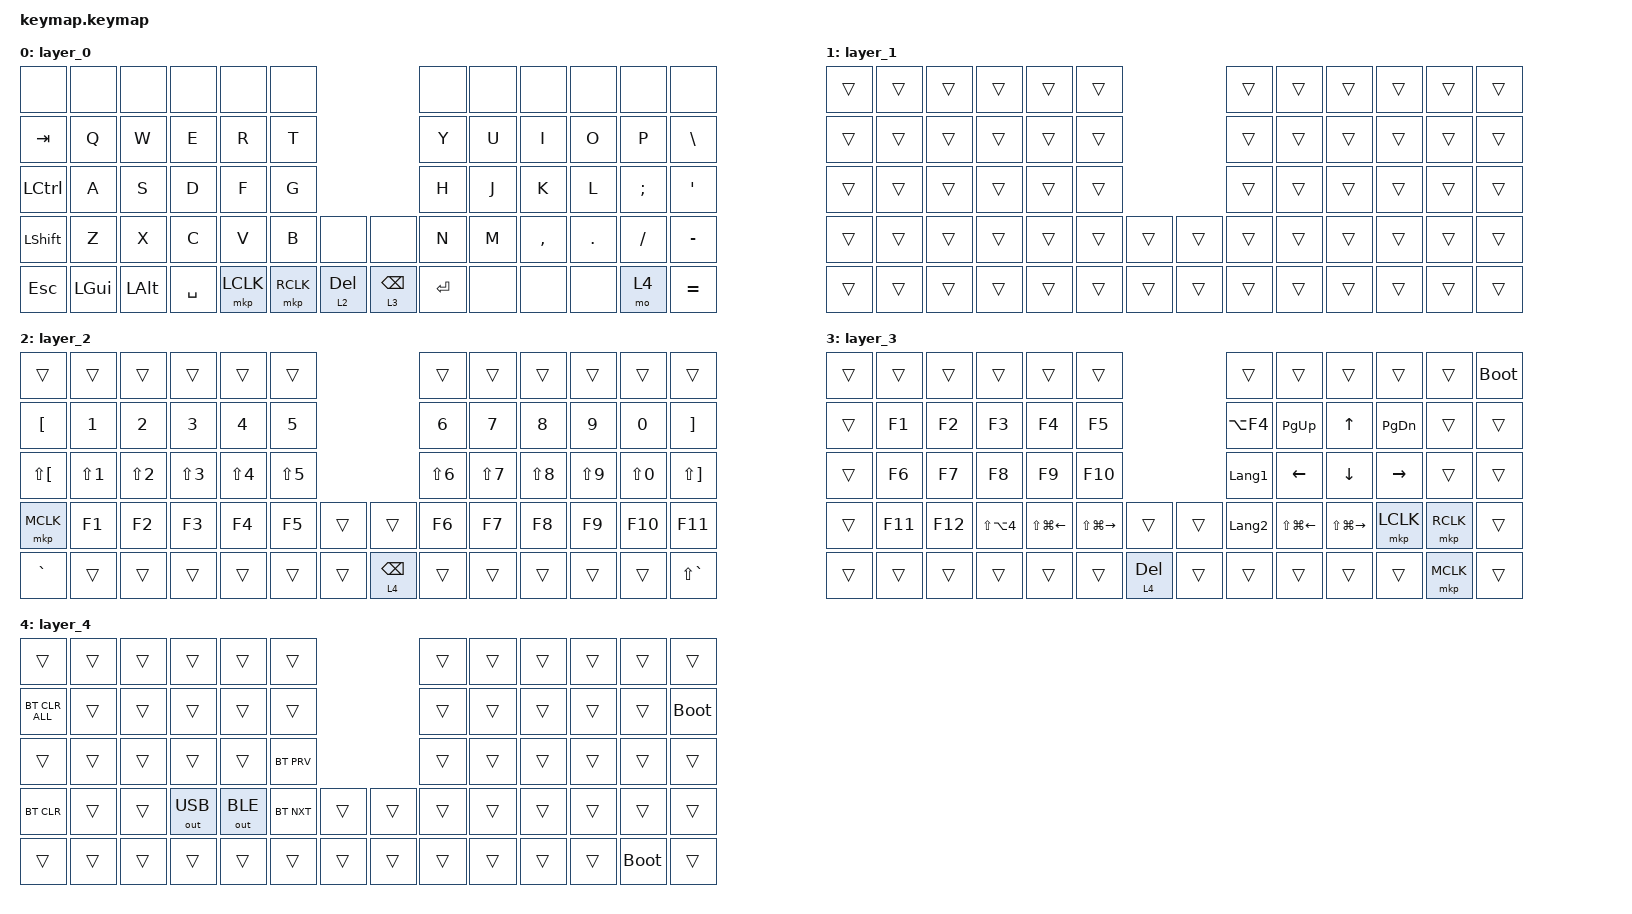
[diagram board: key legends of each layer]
#include <behaviors.dtsi>
#include <dt-bindings/zmk/bt.h>
#include <dt-bindings/zmk/keys.h>
#include <dt-bindings/zmk/outputs.h>
#include <dt-bindings/zmk/pointing.h>

/ {
    combos {
        compatible = "zmk,combos";

        bt_clear {
            bindings = <&bt BT_CLR>;
            key-positions = <28 29>;
            layers = <2>;
        };
    };

    keymap {
        compatible = "zmk,keymap";

        layer_0 {
            bindings = <
&none      &none     &none     &none      &none      &none                                     &none      &none  &none      &none    &none     &none
&kp TAB    &kp Q     &kp W     &kp E      &kp R      &kp T                                     &kp Y      &kp U  &kp I      &kp O    &kp P     &kp BSLH
&kp LCTRL  &kp A     &kp S     &kp D      &kp F      &kp G                                     &kp H      &kp J  &kp K      &kp L    &kp SEMI  &kp APOS
&kp LSHFT  &kp Z     &kp X     &kp C      &kp V      &kp B      &none         &none            &kp N      &kp M  &kp COMMA  &kp DOT  &kp FSLH  &kp MINUS
&kp ESC    &kp LGUI  &kp LALT  &kp SPACE  &mkp LCLK  &mkp RCLK  &lt 2 DELETE  &lt 3 BACKSPACE  &kp ENTER  &none  &none      &none    &mo 4     &kp EQUAL
            >;
        };

        layer_1 {
            bindings = <
&trans  &trans  &trans  &trans  &trans  &trans                  &trans  &trans  &trans  &trans  &trans  &trans
&trans  &trans  &trans  &trans  &trans  &trans                  &trans  &trans  &trans  &trans  &trans  &trans
&trans  &trans  &trans  &trans  &trans  &trans                  &trans  &trans  &trans  &trans  &trans  &trans
&trans  &trans  &trans  &trans  &trans  &trans  &trans  &trans  &trans  &trans  &trans  &trans  &trans  &trans
&trans  &trans  &trans  &trans  &trans  &trans  &trans  &trans  &trans  &trans  &trans  &trans  &trans  &trans
            >;
        };

        layer_2 {
            bindings = <
&trans                &trans      &trans        &trans      &trans      &trans                               &trans            &trans      &trans      &trans      &trans      &trans
&kp LEFT_BRACKET      &kp N1      &kp NUMBER_2  &kp N3      &kp N4      &kp N5                               &kp N6            &kp N7      &kp N8      &kp N9      &kp N0      &kp RIGHT_BRACKET
&kp LS(LEFT_BRACKET)  &kp LS(N1)  &kp LS(N2)    &kp LS(N3)  &kp LS(N4)  &kp LS(N5)                           &kp LS(NUMBER_6)  &kp LS(N7)  &kp LS(N8)  &kp LS(N9)  &kp LS(N0)  &kp LS(RIGHT_BRACKET)
&mkp MCLK             &kp F1      &kp F2        &kp F3      &kp F4      &kp F5      &trans  &trans           &kp F6            &kp F7      &kp F8      &kp F9      &kp F10     &kp F11
&kp GRAVE             &trans      &trans        &trans      &trans      &trans      &trans  &lt 4 BACKSPACE  &trans            &trans      &trans      &trans      &trans      &kp LS(GRAVE)
            >;
        };

        layer_3 {
            bindings = <
&trans  &trans   &trans   &trans                &trans            &trans                                   &trans          &trans            &trans             &trans         &trans     &bootloader
&trans  &kp F1   &kp F2   &kp F3                &kp F4            &kp F5                                   &kp LA(F4)      &kp PG_UP         &kp UP_ARROW       &kp PAGE_DOWN  &trans     &trans
&trans  &kp F6   &kp F7   &kp F8                &kp F9            &kp F10                                  &kp LANGUAGE_1  &kp LEFT          &kp DOWN           &kp RIGHT      &trans     &trans
&trans  &kp F11  &kp F12  &kp LS(LA(NUMBER_4))  &kp LS(LG(LEFT))  &kp LS(LG(RIGHT))  &trans        &trans  &kp LANGUAGE_2  &kp LS(LG(LEFT))  &kp LS(LG(RIGHT))  &mkp LCLK      &mkp RCLK  &trans
&trans  &trans   &trans   &trans                &trans            &trans             &lt 4 DELETE  &trans  &trans          &trans            &trans             &trans         &mkp MCLK  &trans
            >;
        };

        layer_4 {
            bindings = <
&trans          &trans  &trans  &trans        &trans        &trans                      &trans  &trans  &trans  &trans  &trans       &trans
&bt BT_CLR_ALL  &trans  &trans  &trans        &trans        &trans                      &trans  &trans  &trans  &trans  &trans       &bootloader
&trans          &trans  &trans  &trans        &trans        &bt BT_PRV                  &trans  &trans  &trans  &trans  &trans       &trans
&bt BT_CLR      &trans  &trans  &out OUT_USB  &out OUT_BLE  &bt BT_NXT  &trans  &trans  &trans  &trans  &trans  &trans  &trans       &trans
&trans          &trans  &trans  &trans        &trans        &trans      &trans  &trans  &trans  &trans  &trans  &trans  &bootloader  &trans
            >;
        };
    };
};
